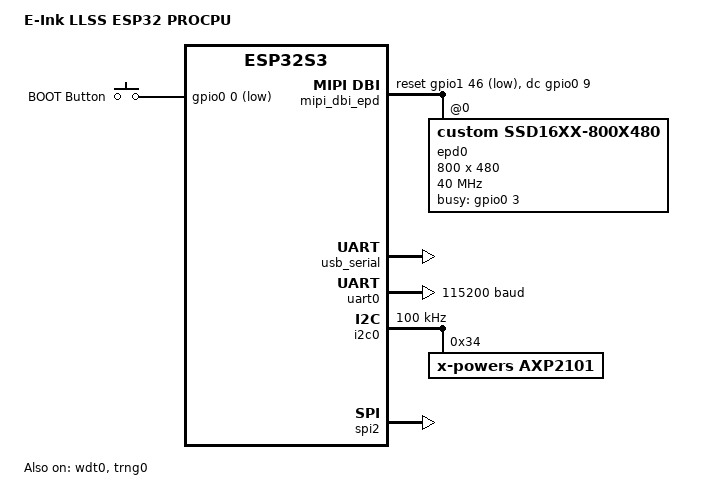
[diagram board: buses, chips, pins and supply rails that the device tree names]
/dts-v1/;

#include <espressif/esp32s3/esp32s3_wroom_n16r8.dtsi>
#include <zephyr/dt-bindings/input/input-event-codes.h>
#include <espressif/partitions_0x0_amp.dtsi>
#include "eink_llss_esp32-pinctrl.dtsi"

/ {
	model = "E-Ink LLSS ESP32 PROCPU";
	compatible = "custom,eink-llss-esp32", "espressif,esp32s3";

	aliases {
		i2c-0 = &i2c0;
		spi-0 = &spi2;
		uart-0 = &uart0;
		sw0 = &button0;
		watchdog0 = &wdt0;
	};

	chosen {
		zephyr,sram = &sram1;
		zephyr,console = &usb_serial;
		zephyr,shell-uart = &usb_serial;
		zephyr,flash = &flash0;
		zephyr,code-partition = &slot0_partition;
		zephyr,display = &epd0;
	};

	buttons {
		compatible = "gpio-keys";

		button0: button_0 {
			gpios = <&gpio0 0 (GPIO_PULL_UP | GPIO_ACTIVE_LOW)>;
			label = "BOOT Button";
			zephyr,code = <INPUT_KEY_0>;
		};
	};

	mipi_dbi_epd: mipi_dbi_epd {
		compatible = "zephyr,mipi-dbi-spi";
		status = "okay";
		spi-dev = <&spi2>;
		dc-gpios = <&gpio0 9 GPIO_ACTIVE_HIGH>;
		reset-gpios = <&gpio1 46 GPIO_ACTIVE_LOW>;
		write-only;
		#address-cells = <1>;
		#size-cells = <0>;

		epd0: epd@0 {
			compatible = "custom,ssd16xx-800x480";
			/* A partial pushes THREE 48 KB planes (prev->RED, new->BW,
			 * then the post-refresh re-sync new->RED) = 144 KB, so the
			 * clock dominates: 288 ms at 4 MHz, 115 ms at 10, ~29 ms
			 * here. Vendor + freeink both drive SSD1677 at 40 MHz.
			 * If images garble, step back down (10 MHz was verified
			 * clean on this board). */
			mipi-max-frequency = <40000000>;
			reg = <0>;
			status = "okay";
			width = <800>;
			height = <480>;
			busy-gpios = <&gpio0 3 GPIO_ACTIVE_HIGH>;
		};
	};
};

&usb_serial {
	status = "okay";
};

&uart0 {
	status = "okay";
	current-speed = <115200>;
	pinctrl-0 = <&uart0_default>;
	pinctrl-names = "default";
};

&gpio0 {
	status = "okay";
};

&gpio1 {
	status = "okay";
};

&i2c0 {
	status = "okay";
	clock-frequency = <I2C_BITRATE_STANDARD>;
	pinctrl-0 = <&i2c0_default>;
	pinctrl-names = "default";

	axp2101: axp2101@34 {
		compatible = "x-powers,axp2101";
		reg = <0x34>;
		status = "okay";

		regulators {
			compatible = "x-powers,axp2101-regulator";
			status = "okay";

			dcdc1_reg: dcdc1 {
				regulator-boot-on;
				status = "okay";
			};

			aldo1_reg: aldo1 {
				regulator-boot-on;
				status = "okay";
			};

			aldo2_reg: aldo2 {
				regulator-boot-on;
				status = "okay";
			};

			aldo3_reg: aldo3 {
				regulator-boot-on;
				status = "okay";
			};
		};

		charger: charger {
			compatible = "x-powers,axp2101-charger";
			constant-charge-current-max-microamp = <200000>;
			constant-charge-voltage-max-microvolt = <4200000>;
			status = "okay";
		};

		axp2101_led: led {
			compatible = "x-powers,axp2101-led";
			x-powers,mode = "type-a";
			status = "okay";
		};

		fuel_gauge: fuel_gauge {
			compatible = "x-powers,axp2101-fuel-gauge";
			status = "okay";
		};
	};
};

&spi2 {
	#address-cells = <1>;
	#size-cells = <0>;
	status = "okay";
	pinctrl-0 = <&spi2_epd_pins>;
	pinctrl-names = "default";
};

&wdt0 {
	status = "okay";
};

&trng0 {
	status = "okay";
};

/* N16R8: 16MB flash + 8MB OPI PSRAM */
&flash0 {
	reg = <0x0 DT_SIZE_M(16)>;
};

&psram0 {
	size = <DT_SIZE_M(8)>;
};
